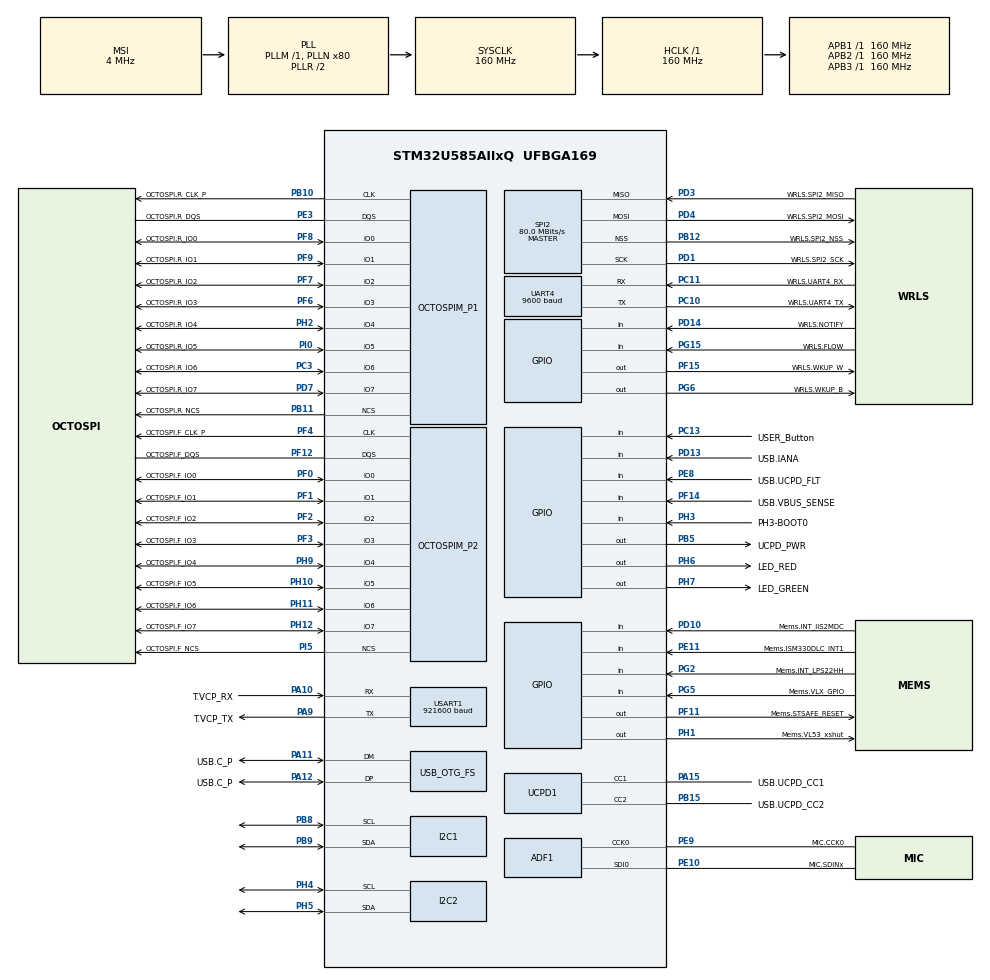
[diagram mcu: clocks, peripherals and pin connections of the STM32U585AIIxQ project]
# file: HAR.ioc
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CORTEX_M33_NS.userName=CORTEX_M33
I2C1.Timing=0x30909DEC
I2C2.Timing=0x30909DEC
Mcu.Family=STM32U5
Mcu.Name=STM32U585AIIxQ
Mcu.Package=UFBGA169
NVIC.PriorityGroup=NVIC_PRIORITYGROUP_4
NVIC.UART4_IRQn=true\:0\:0\:false\:false\:true\:true\:true\:true
NVIC.USART1_IRQn=true\:0\:0\:false\:false\:true\:true\:true\:true
OCTOSPI1.ChipSelectBoundary=10
OCTOSPI1.ClockPrescaler=2
OCTOSPI1.DelayBlockBypass=HAL_OSPI_DELAY_BLOCK_USED
OCTOSPI1.DelayHoldQuarterCycle=HAL_OSPI_DHQC_ENABLE
OCTOSPI1.DeviceSize=23
OCTOSPI1.MemoryType=HAL_OSPI_MEMTYPE_APMEMORY
OCTOSPI1.Refresh=100
OCTOSPI2.ChipSelectBoundary=0
OCTOSPI2.ChipSelectHighTime=2
OCTOSPI2.ClockPrescaler=4
OCTOSPI2.DelayBlockBypass=HAL_OSPI_DELAY_BLOCK_USED
OCTOSPI2.DelayHoldQuarterCycle=HAL_OSPI_DHQC_ENABLE
OCTOSPI2.DeviceSize=26
OCTOSPI2.FifoThreshold=4
OCTOSPI2.MemoryType=HAL_OSPI_MEMTYPE_MACRONIX
PA10.GPIO_Label=T.VCP_RX
PA10.Mode=Asynchronous
PA10.Signal=USART1_RX
PA11.GPIO_Label=USB.C_P
PA11.Mode=Device_Only
PA11.Signal=USB_OTG_FS_DM
PA12.GPIO_Label=USB.C_P
PA12.Mode=Device_Only
PA12.Signal=USB_OTG_FS_DP
PA13\ (JTMS/SWDIO).GPIO_Label=T.SWDIO
PA13\ (JTMS/SWDIO).Mode=Trace_Asynchronous_SW
PA13\ (JTMS/SWDIO).Signal=DEBUG_JTMS-SWDIO
PA14\ (JTCK/SWCLK).GPIO_Label=T.SWCLK
PA14\ (JTCK/SWCLK).Mode=Trace_Asynchronous_SW
PA14\ (JTCK/SWCLK).Signal=DEBUG_JTCK-SWCLK
PA15\ (JTDI).GPIO_Label=USB.UCPD_CC1
PA15\ (JTDI).Mode=Dual_Role_AllSignals
PA15\ (JTDI).Signal=UCPD1_CC1
PA9.GPIO_Label=T.VCP_TX
PA9.Mode=Asynchronous
PA9.Signal=USART1_TX
PB1.GPIO_Label=MIC.SDIN0
PB1.Signal=MDF1_SDI0
PB10.GPIO_Label=OCTOSPI.R_CLK_P
PB10.Mode=O1_P1_CLK
PB10.Signal=OCTOSPIM_P1_CLK
PB11.GPIO_Label=OCTOSPI.R_NCS
PB11.Mode=OCTOSPI1_Port1_NCS
PB11.Signal=OCTOSPIM_P1_NCS
PB12.GPIO_Label=WRLS.SPI2_NSS
PB12.Mode=NSS_Signal_Hard_Output
PB12.Signal=SPI2_NSS
PB15.GPIO_Label=USB.UCPD_CC2
PB15.Mode=Dual_Role_AllSignals
PB15.Signal=UCPD1_CC2
PB3\ (JTDO/TRACESWO).GPIO_Label=T.SWO
PB3\ (JTDO/TRACESWO).Mode=Trace_Asynchronous_SW
PB3\ (JTDO/TRACESWO).Signal=DEBUG_JTDO-SWO
PB5.GPIO_Label=UCPD_PWR
PB5.Signal=GPIO_Output
PB8.Mode=I2C
PB8.Signal=I2C1_SCL
PB9.Mode=I2C
PB9.Signal=I2C1_SDA
PC10.GPIO_Label=WRLS.UART4_TX
PC10.Mode=Asynchronous
PC10.Signal=UART4_TX
PC11.GPIO_Label=WRLS.UART4_RX
PC11.Mode=Asynchronous
PC11.Signal=UART4_RX
PC13.GPIO_Label=USER_Button
PC13.Signal=GPIO_Input
PC14-OSC32_IN\ (PC14).GPIO_Label=PC14-OSC32_IN
PC14-OSC32_IN\ (PC14).Mode=LSE-External-Oscillator
PC14-OSC32_IN\ (PC14).Signal=RCC_OSC32_IN
PC15-OSC32_OUT\ (PC15).GPIO_Label=PC15-OSC32_OUT
PC15-OSC32_OUT\ (PC15).Mode=LSE-External-Oscillator
PC15-OSC32_OUT\ (PC15).Signal=RCC_OSC32_OUT
PC3.GPIO_Label=OCTOSPI.R_IO6
PC3.Mode=OCTOSPI1_IOH_Port1H
PC3.Signal=OCTOSPIM_P1_IO6
PD1.GPIO_Label=WRLS.SPI2_SCK
PD1.Mode=Full_Duplex_Master
PD1.Signal=SPI2_SCK
PD10.GPIO_Label=Mems.INT_IIS2MDC
PD10.Signal=GPIO_Input
PD13.GPIO_Label=USB.IANA
PD13.Signal=GPIO_Input
PD14.GPIO_Label=WRLS.NOTIFY
PD14.Signal=GPIO_Input
PD3.GPIO_Label=WRLS.SPI2_MISO
PD3.Mode=Full_Duplex_Master
PD3.Signal=SPI2_MISO
PD4.GPIO_Label=WRLS.SPI2_MOSI
PD4.Mode=Full_Duplex_Master
PD4.Signal=SPI2_MOSI
PD7.GPIO_Label=OCTOSPI.R_IO7
PD7.Mode=OCTOSPI1_IOH_Port1H
PD7.Signal=OCTOSPIM_P1_IO7
PE10.GPIO_Label=MIC.SDINx
PE10.Mode=MOD_ADF_CCK
PE10.Signal=ADF1_SDI0
PE11.GPIO_Label=Mems.ISM330DLC_INT1
PE11.Signal=GPIO_Input
PE3.GPIO_Label=OCTOSPI.R_DQS
PE3.Mode=OCTOSPI1_Port1_DQS
PE3.Signal=OCTOSPIM_P1_DQS
PE8.GPIO_Label=USB.UCPD_FLT
PE8.Signal=GPIO_Input
PE9.GPIO_Label=MIC.CCK0
PE9.Mode=MOD_MDF_CCK0
PE9.Signal=ADF1_CCK0
PF0.GPIO_Label=OCTOSPI.F_IO0
PF0.Mode=OCTOSPI2_IOL_Port2L
PF0.Signal=OCTOSPIM_P2_IO0
PF1.GPIO_Label=OCTOSPI.F_IO1
PF1.Mode=OCTOSPI2_IOL_Port2L
PF1.Signal=OCTOSPIM_P2_IO1
PF10.GPIO_Label=MIC.CCK1
PF10.Signal=MDF1_CCK1
PF11.GPIO_Label=Mems.STSAFE_RESET
PF11.Signal=GPIO_Output
PF12.GPIO_Label=OCTOSPI.F_DQS
PF12.Mode=OCTOSPI2_Port2_DQS
PF12.Signal=OCTOSPIM_P2_DQS
PF14.GPIO_Label=USB.VBUS_SENSE
PF14.Signal=GPIO_Input
PF15.GPIO_Label=WRLS.WKUP_W
PF15.Signal=GPIO_Output
PF2.GPIO_Label=OCTOSPI.F_IO2
PF2.Mode=OCTOSPI2_IOL_Port2L
PF2.Signal=OCTOSPIM_P2_IO2
PF3.GPIO_Label=OCTOSPI.F_IO3
PF3.Mode=OCTOSPI2_IOL_Port2L
PF3.Signal=OCTOSPIM_P2_IO3
PF4.GPIO_Label=OCTOSPI.F_CLK_P
PF4.Mode=O2_P2_CLK
PF4.Signal=OCTOSPIM_P2_CLK
PF6.GPIO_Label=OCTOSPI.R_IO3
PF6.Mode=OCTOSPI1_IOL_Port1L
PF6.Signal=OCTOSPIM_P1_IO3
PF7.GPIO_Label=OCTOSPI.R_IO2
PF7.Mode=OCTOSPI1_IOL_Port1L
PF7.Signal=OCTOSPIM_P1_IO2
PF8.GPIO_Label=OCTOSPI.R_IO0
PF8.Mode=OCTOSPI1_IOL_Port1L
PF8.Signal=OCTOSPIM_P1_IO0
PF9.GPIO_Label=OCTOSPI.R_IO1
PF9.Mode=OCTOSPI1_IOL_Port1L
PF9.Signal=OCTOSPIM_P1_IO1
PG15.GPIO_Label=WRLS.FLOW
PG15.Signal=GPIO_Input
PG2.GPIO_Label=Mems.INT_LPS22HH
PG2.Signal=GPIO_Input
PG5.GPIO_Label=Mems.VLX_GPIO
PG5.Signal=GPIO_Input
PG6.GPIO_Label=WRLS.WKUP_B
PG6.Signal=GPIO_Output
PH1-OSC_OUT\ (PH1).GPIO_Label=Mems.VL53_xshut
PH1-OSC_OUT\ (PH1).Signal=GPIO_Output
PH10.GPIO_Label=OCTOSPI.F_IO5
PH10.Mode=OCTOSPI2_IOH_Port2H
PH10.Signal=OCTOSPIM_P2_IO5
PH11.GPIO_Label=OCTOSPI.F_IO6
PH11.Mode=OCTOSPI2_IOH_Port2H
PH11.Signal=OCTOSPIM_P2_IO6
PH12.GPIO_Label=OCTOSPI.F_IO7
PH12.Mode=OCTOSPI2_IOH_Port2H
PH12.Signal=OCTOSPIM_P2_IO7
PH2.GPIO_Label=OCTOSPI.R_IO4
PH2.Mode=OCTOSPI1_IOH_Port1H
PH2.Signal=OCTOSPIM_P1_IO4
PH3-BOOT0.GPIO_Label=PH3-BOOT0
PH3-BOOT0.Signal=GPIO_Input
PH4.Mode=I2C
PH4.Signal=I2C2_SCL
PH5.Mode=I2C
PH5.Signal=I2C2_SDA
PH6.GPIO_Label=LED_RED
PH6.Signal=GPIO_Output
PH7.GPIO_Label=LED_GREEN
PH7.Signal=GPIO_Output
PH9.GPIO_Label=OCTOSPI.F_IO4
PH9.Mode=OCTOSPI2_IOH_Port2H
PH9.Signal=OCTOSPIM_P2_IO4
PI0.GPIO_Label=OCTOSPI.R_IO5
PI0.Mode=OCTOSPI1_IOH_Port1H
PI0.Signal=OCTOSPIM_P1_IO5
PI5.GPIO_Label=OCTOSPI.F_NCS
PI5.Mode=OCTOSPI2_Port2_NCS
PI5.Signal=OCTOSPIM_P2_NCS
PWR.PowerMode=PWR_SMPS_SUPPLY
ProjectManager.HeapSize=0x800
ProjectManager.StackSize=0x800
ProjectManager.TargetToolchain=STM32CubeIDE
RCC.ADCFreq_Value=16000000
RCC.AHBFreq_Value=160000000
RCC.APB1Freq_Value=160000000
RCC.APB1TimFreq_Value=160000000
RCC.APB2Freq_Value=160000000
RCC.APB2TimFreq_Value=160000000
RCC.APB3Freq_Value=160000000
RCC.CortexFreq_Value=160000000
RCC.DACCLockSelectionVirtual=RCC_DAC1CLKSOURCE_LSI
RCC.EPOD_VALUE=4000000
RCC.HCLKFreq_Value=160000000
RCC.HSE_VALUE=16000000
RCC.HSI48_VALUE=48000000
RCC.HSI_VALUE=16000000
RCC.LSIDIV_VALUE=32000
RCC.MSI_VALUE=4000000
RCC.PLLN=80
RCC.SYSCLKFreq_VALUE=160000000
RCC.SYSCLKSource=RCC_SYSCLKSOURCE_PLLCLK
RCC.USBFreq_Value=48000000
RCC.VCOOutputFreq_Value=320000000
SPI2.CalculateBaudRate=80.0 MBits/s
SPI2.Direction=SPI_DIRECTION_2LINES
SPI2.Mode=SPI_MODE_MASTER
SPI2.VirtualNSS=VM_NSSHARD
SPI2.VirtualType=VM_MASTER
STMicroelectronics.X-CUBE-AI.8.1.0.ActivationBufferSizeList=5024
STMicroelectronics.X-CUBE-AI.8.1.0.ActivationBuffers=pool0
STMicroelectronics.X-CUBE-AI.8.1.0.ActivationNames=pool0
STMicroelectronics.X-CUBE-AI.8.1.0.ActivationSizes=AI_NETWORK_DATA_ACTIVATION_1_SIZE
STMicroelectronics.X-CUBE-AI.8.1.0.ApplicationCcDeviceJjApplication=ApplicationTemplate
STMicroelectronics.X-CUBE-AI.8.1.0.HeapSize=0x800
STMicroelectronics.X-CUBE-AI.8.1.0.InternalRamActivationBufferMaxSize=AI_NETWORK_DATA_ACTIVATIONS_SIZE
STMicroelectronics.X-CUBE-AI.8.1.0.LatestDirectoryUsed-bd019230dedc1074351b9f6db15181a2af16168b05c173a08e78a11e6d98613f=/Users/richardmatthews/Documents/Programming/ST-AI/HAR-Project/HAR/NN_Models/pamap2_ign_24_window_grav_rot_sup_2025_06_20_19_55_34
STMicroelectronics.X-CUBE-AI.8.1.0.MaximumNumberOfInputLayer=1
STMicroelectronics.X-CUBE-AI.8.1.0.MaximumNumberOfOutputLayer=1
STMicroelectronics.X-CUBE-AI.8.1.0.MaximumSizeOfInputLayer=1
STMicroelectronics.X-CUBE-AI.8.1.0.MaximumSizeOfOutputLayer=1
STMicroelectronics.X-CUBE-AI.8.1.0.ModelActualCompression-bd019230dedc1074351b9f6db15181a2af16168b05c173a08e78a11e6d98613f=0.0
STMicroelectronics.X-CUBE-AI.8.1.0.ModelCompression-bd019230dedc1074351b9f6db15181a2af16168b05c173a08e78a11e6d98613f=None
STMicroelectronics.X-CUBE-AI.8.1.0.ModelFlashOccupation-bd019230dedc1074351b9f6db15181a2af16168b05c173a08e78a11e6d98613f=26014
STMicroelectronics.X-CUBE-AI.8.1.0.ModelHashList=bd019230dedc1074351b9f6db15181a2af16168b05c173a08e78a11e6d98613f
STMicroelectronics.X-CUBE-AI.8.1.0.ModelKind-bd019230dedc1074351b9f6db15181a2af16168b05c173a08e78a11e6d98613f=KERAS
STMicroelectronics.X-CUBE-AI.8.1.0.ModelMacc-bd019230dedc1074351b9f6db15181a2af16168b05c173a08e78a11e6d98613f=14404
STMicroelectronics.X-CUBE-AI.8.1.0.ModelName-bd019230dedc1074351b9f6db15181a2af16168b05c173a08e78a11e6d98613f=network
STMicroelectronics.X-CUBE-AI.8.1.0.ModelNameList=network
STMicroelectronics.X-CUBE-AI.8.1.0.ModelRamOccupation-bd019230dedc1074351b9f6db15181a2af16168b05c173a08e78a11e6d98613f=5024
STMicroelectronics.X-CUBE-AI.8.1.0.ModelStructureFile-bd019230dedc1074351b9f6db15181a2af16168b05c173a08e78a11e6d98613f=NN_Models/pamap2_ign_24_window_grav_rot_sup_2025_06_20_19_55_34/pamap2_ign_24_window_grav_rot_sup.h5
STMicroelectronics.X-CUBE-AI.8.1.0.ModelType-bd019230dedc1074351b9f6db15181a2af16168b05c173a08e78a11e6d98613f=Saved model
STMicroelectronics.X-CUBE-AI.8.1.0.ReadyForCodeGeneration=true
STMicroelectronics.X-CUBE-AI.8.1.0.StackSize=0x800
STMicroelectronics.X-CUBE-AI.8.1.0.WorkingBufferStartAddrList=0xFFFFFFFF
STMicroelectronics.X-CUBE-AI.8.1.0.XAaCUBEAaAICcArtificialOoIntelligenceJjCore=true
STMicroelectronics.X-CUBE-AI.8.1.0.copyWeightToRam=false
STMicroelectronics.X-CUBE-AI.8.1.0.copyWeightToRam-bd019230dedc1074351b9f6db15181a2af16168b05c173a08e78a11e6d98613f=false
STMicroelectronics.X-CUBE-AI.8.1.0.customLayerConfigEnabled=false
STMicroelectronics.X-CUBE-AI.8.1.0.customLayerConfigEnabled-bd019230dedc1074351b9f6db15181a2af16168b05c173a08e78a11e6d98613f=false
STMicroelectronics.X-CUBE-AI.8.1.0.noOnnxIoTranspose=false
STMicroelectronics.X-CUBE-AI.8.1.0.noOnnxIoTranspose-bd019230dedc1074351b9f6db15181a2af16168b05c173a08e78a11e6d98613f=false
STMicroelectronics.X-CUBE-AI.8.1.0.useInputAllocation=true
STMicroelectronics.X-CUBE-AI.8.1.0.useInputAllocation-bd019230dedc1074351b9f6db15181a2af16168b05c173a08e78a11e6d98613f=true
STMicroelectronics.X-CUBE-AI.8.1.0.useOutputAllocation=true
STMicroelectronics.X-CUBE-AI.8.1.0.useOutputAllocation-bd019230dedc1074351b9f6db15181a2af16168b05c173a08e78a11e6d98613f=true
UART4.BaudRate=9600
USART1.BaudRate=921600
USART1.VirtualMode-Asynchronous=VM_ASYNC
USB_OTG_FS.VirtualMode=Device_Only
VP_CRC_VS_CRC.Mode=CRC_Activate
VP_ICACHE_VS_ICACHE.Mode=DirectMappedCache
VP_LPBAMQUEUE_VS_QUEUE.Mode=QUEUEMODE
VP_LPBAM_VS_SIG1.Mode=SmartRun
VP_LPBAM_VS_SIG4.Mode=LPDMA1
VP_MEMORYMAP_VS_MEMORYMAP.Mode=CurAppReg
VP_OCTOSPI1_VS_octo.Mode=octo_mode
VP_OCTOSPI2_VS_octo.Mode=octo_mode
VP_PWR_VS_DBSignals.Mode=DisableDeadBatterySignals
VP_PWR_VS_LPOM.Mode=PowerOptimisation
VP_PWR_VS_SECSignals.Mode=Security/Privilege
VP_STMicroelectronics.X-CUBE-AI_VS_ArtificialOoIntelligenceJjXAaCUBEAaAI_8.1.0.Mode=ArtificialOoIntelligenceJjXAaCUBEAaAI
VP_STMicroelectronics.X-CUBE-AI_VS_DeviceJjApplication_8.1.0.Mode=DeviceJjApplication
board=B-U585I-IOT02A

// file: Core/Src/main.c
/* USER CODE BEGIN Header */
/**
  ******************************************************************************
  * @file           : main.c
  * @brief          : Main program body
  ******************************************************************************
  * @attention
  *
  * Copyright (c) 2025 STMicroelectronics.
  * All rights reserved.
  *
  * This software is licensed under terms that can be found in the LICENSE file
  * in the root directory of this software component.
  * If no LICENSE file comes with this software, it is provided AS-IS.
  *
  ******************************************************************************
  */
/* USER CODE END Header */
#include "main.h"
#include "app_x-cube-ai.h"

/* USER CODE BEGIN Includes */
#include <stdio.h>
#include <stdbool.h>

#include "ble_at_client.h"
#include "b-u585i-iot02a-bsp/b_u585i_iot02a.h"
#include "wb-at-client/stm32wb_at.h"
#include "wb-at-client/stm32wb_at_ble.h"
#include "wb-at-client/stm32wb_at_client.h"

#include "b-u585i-iot02a-bsp/b_u585i_iot02a_motion_sensors.h"
#include "imu_manager.h"
#include "buttons.h"
#include "flash_log.h"
#include "stm32u5xx_hal.h"
#include "stm32u5xx_hal_gpio.h"
#include "config.h"
#include "cli.h"
#include "flash_error_log.h"

/* USER CODE END Includes */

MDF_HandleTypeDef AdfHandle0;
MDF_FilterConfigTypeDef AdfFilterConfig0;

CRC_HandleTypeDef hcrc;

I2C_HandleTypeDef hi2c1;
I2C_HandleTypeDef hi2c2;

OSPI_HandleTypeDef hospi1;
OSPI_HandleTypeDef hospi2;

SPI_HandleTypeDef hspi2;

UART_HandleTypeDef huart4;
UART_HandleTypeDef huart1;

PCD_HandleTypeDef hpcd_USB_OTG_FS;

void SystemClock_Config(void);
static void SystemPower_Config(void);
static void MX_GPIO_Init(void);
static void MX_ADF1_Init(void);
static void MX_I2C1_Init(void);
static void MX_I2C2_Init(void);
static void MX_ICACHE_Init(void);
static void MX_OCTOSPI1_Init(void);
static void MX_OCTOSPI2_Init(void);
static void MX_SPI2_Init(void);
static void MX_UART4_Init(void);
static void MX_USART1_UART_Init(void);
static void MX_UCPD1_Init(void);
static void MX_USB_OTG_FS_PCD_Init(void);
static void MX_CRC_Init(void);

/* USER CODE BEGIN 0 */
void ble_connect(void) {
  int ble_status = ble_at_client_setup_and_run();
  if (ble_status != 0) {
    printf("Failed to init BLE\n");
    LOG_ERROR(ERROR_BLE_INIT_ERROR,
              ERROR_DATA_BLE_STATUS, ble_status,
              ERROR_LOG_HANG_ON_LOG_FAILURE);
    while(1);
  }
}

void ble_notify(uint32_t *last_notify) {
  /* When connected we need to notify the iOS app to allow us to use the LED
   * toggle button
   * This also acts as a heartbeat indicator on the app
   */
  if (ble_at_client_device_connected() && HAL_GetTick() - (*last_notify) > 1000) {
    int8_t status = ble_at_client_notify();
    if (status != 0) {
      printf("Failed to notify ble\n");
      LOG_ERROR(ERROR_BLE_NOTIFY_ERROR,
                ERROR_DATA_BLE_STATUS, status,
                ERROR_LOG_CONTINUE_ON_LOG_FAILURE);
    }

    *last_notify = HAL_GetTick();
  }

}

/* USER CODE END 0 */

int main(void)
{

  /* MCU Configuration--------------------------------------------------------*/

  /* Reset of all peripherals, Initializes the Flash interface and the Systick. */
  HAL_Init();

  /* Configure the System Power */
  SystemPower_Config();

  /* Configure the system clock */
  SystemClock_Config();

  /* USER CODE BEGIN SysInit */
  setvbuf(stdout, NULL, _IONBF, 0);
  /* USER CODE END SysInit */

  /* Initialize all configured peripherals */
  MX_GPIO_Init();
  MX_ADF1_Init();
  MX_I2C1_Init();
  MX_I2C2_Init();
  MX_ICACHE_Init();
  MX_OCTOSPI1_Init();
  MX_OCTOSPI2_Init();
  MX_SPI2_Init();
  MX_UART4_Init();
  MX_USART1_UART_Init();
  MX_UCPD1_Init();
  MX_USB_OTG_FS_PCD_Init();
  MX_CRC_Init();
  MX_X_CUBE_AI_Init();
  /* USER CODE BEGIN 2 */

  printf("Initializing\n\n");

  config_init();

  bool error_log_full = false;

  error_log_status_t error_log_status = error_log_init();
  if (error_log_status == ERROR_LOG_FULL) {
    printf("Error log is full\n");
    error_log_full = true;
  } else if (error_log_status != ERROR_LOG_OK) {
    printf("Failed to init error log\n");
    while(1);
  }

  int32_t status = imu_manager_init();
  if (status != BSP_ERROR_NONE) {
    printf("Failed to init IMU\n");
    LOG_ERROR(ERROR_IMU_INIT_ERROR,
              ERROR_DATA_BSP_ERROR_CODE, status,
              ERROR_LOG_HANG_ON_LOG_FAILURE);
    while(1);
  }

  flash_log_status_t flash_status =
    flash_log_init();
  if (flash_status != FLASH_LOG_OK) {
    printf("Failed to init flash log\n");
    LOG_ERROR(ERROR_FLASH_LOG_INIT_ERROR,
              ERROR_DATA_FLASH_LOG_STATUS, flash_status,
              ERROR_LOG_HANG_ON_LOG_FAILURE);
    while(1);
  }

  cli_status_t cli_status = cli_init();
  if (cli_status != CLI_STATUS_OK) {
    printf("Failed to init CLI\n");
    LOG_ERROR(ERROR_CLI_INIT_ERROR,
              ERROR_DATA_CLI_STATUS, cli_status,
              ERROR_LOG_HANG_ON_LOG_FAILURE);
    while(1);
  }

  cli_setup_waiting_for_input();

  /* USER CODE END 2 */

  /* Infinite loop */
  /* USER CODE BEGIN WHILE */
  if (!error_log_full) {
    ble_connect();
  }

  uint32_t last_notify = 0;

#if LOAD_IMU_DATA_FROM_FILE
  bool end_of_recorded_data = false;
#endif

  while (1)
  {
    if (!error_log_full) {
      ble_notify(&last_notify);

      bool ble_disconnect = ble_at_client_check_disconnect();
      if (ble_disconnect) {
        printf("BLE disconnected\n");
        LOG_ERROR(ERROR_BLE_DISCONNECT_ERROR,
                  ERROR_DATA_NONE,
                  0,
                  ERROR_LOG_CONTINUE_ON_LOG_FAILURE);

        ble_at_client_clear_disconnect();
      }
    }

    // Check to see if we should start the CLI
    // CLI is enabled if we receive any input
    // if enabled, application code stops
    if (!config_get_cli_enabled()) {
      if (cli_check_for_input_to_enable()) {
        cli_status = cli_start();
        if (cli_status != CLI_STATUS_OK) {
          printf("Failed to start CLI\n");
          LOG_ERROR(ERROR_CLI_START_ERROR,
                    ERROR_DATA_CLI_STATUS, cli_status,
                    ERROR_LOG_CONTINUE_ON_LOG_FAILURE);

          continue;
        }

        config_set_cli_enabled(true);
      }
    } else {
      cli_status = cli_run();
      if (cli_status != CLI_STATUS_OK) {
        printf("Failed to run CLI\n");
        LOG_ERROR(ERROR_CLI_RUN_ERROR,
                  ERROR_DATA_CLI_STATUS, cli_status,
                  ERROR_LOG_CONTINUE_ON_LOG_FAILURE);
      }
    }

    if (!error_log_full) {
    /* USER CODE END WHILE */
    /* USER CODE BEGIN 3 */
#if LOAD_IMU_DATA_FROM_FILE
      if (!end_of_recorded_data) {
        ai_status_t status = MX_X_CUBE_AI_Process();
        if (status == AI_STATUS_END_OF_RECORDED_DATA) {
          end_of_recorded_data = true;
        }
      }
#else
      MX_X_CUBE_AI_Process();
#endif
    }
  }
  /* USER CODE END 3 */
}

void SystemClock_Config(void)
{
  RCC_OscInitTypeDef RCC_OscInitStruct = {0};
  RCC_ClkInitTypeDef RCC_ClkInitStruct = {0};

  /** Configure the main internal regulator output voltage
  */
  if (HAL_PWREx_ControlVoltageScaling(PWR_REGULATOR_VOLTAGE_SCALE1) != HAL_OK)
  {
    Error_Handler();
  }

  /** Initializes the CPU, AHB and APB buses clocks
  */
  RCC_OscInitStruct.OscillatorType = RCC_OSCILLATORTYPE_HSI48|RCC_OSCILLATORTYPE_HSI
                              |RCC_OSCILLATORTYPE_MSI;
  RCC_OscInitStruct.HSIState = RCC_HSI_ON;
  RCC_OscInitStruct.HSI48State = RCC_HSI48_ON;
  RCC_OscInitStruct.HSICalibrationValue = RCC_HSICALIBRATION_DEFAULT;
  RCC_OscInitStruct.MSIState = RCC_MSI_ON;
  RCC_OscInitStruct.MSICalibrationValue = RCC_MSICALIBRATION_DEFAULT;
  RCC_OscInitStruct.MSIClockRange = RCC_MSIRANGE_4;
  RCC_OscInitStruct.PLL.PLLState = RCC_PLL_ON;
  RCC_OscInitStruct.PLL.PLLSource = RCC_PLLSOURCE_MSI;
  RCC_OscInitStruct.PLL.PLLMBOOST = RCC_PLLMBOOST_DIV1;
  RCC_OscInitStruct.PLL.PLLM = 1;
  RCC_OscInitStruct.PLL.PLLN = 80;
  RCC_OscInitStruct.PLL.PLLP = 2;
  RCC_OscInitStruct.PLL.PLLQ = 2;
  RCC_OscInitStruct.PLL.PLLR = 2;
  RCC_OscInitStruct.PLL.PLLRGE = RCC_PLLVCIRANGE_0;
  RCC_OscInitStruct.PLL.PLLFRACN = 0;
  if (HAL_RCC_OscConfig(&RCC_OscInitStruct) != HAL_OK)
  {
    Error_Handler();
  }

  /** Initializes the CPU, AHB and APB buses clocks
  */
  RCC_ClkInitStruct.ClockType = RCC_CLOCKTYPE_HCLK|RCC_CLOCKTYPE_SYSCLK
                              |RCC_CLOCKTYPE_PCLK1|RCC_CLOCKTYPE_PCLK2
                              |RCC_CLOCKTYPE_PCLK3;
  RCC_ClkInitStruct.SYSCLKSource = RCC_SYSCLKSOURCE_PLLCLK;
  RCC_ClkInitStruct.AHBCLKDivider = RCC_SYSCLK_DIV1;
  RCC_ClkInitStruct.APB1CLKDivider = RCC_HCLK_DIV1;
  RCC_ClkInitStruct.APB2CLKDivider = RCC_HCLK_DIV1;
  RCC_ClkInitStruct.APB3CLKDivider = RCC_HCLK_DIV1;

  if (HAL_RCC_ClockConfig(&RCC_ClkInitStruct, FLASH_LATENCY_4) != HAL_OK)
  {
    Error_Handler();
  }
}

/**
  * @brief Power Configuration
  * @retval None
  */
static void SystemPower_Config(void)
{
  HAL_PWREx_EnableVddIO2();

  /*
   * Switch to SMPS regulator instead of LDO
   */
  if (HAL_PWREx_ConfigSupply(PWR_SMPS_SUPPLY) != HAL_OK)
  {
    Error_Handler();
  }
}

static void MX_ADF1_Init(void)
{

  /**
    AdfHandle0 structure initialization and HAL_MDF_Init function call
  */
  AdfHandle0.Instance = ADF1_Filter0;
  AdfHandle0.Init.CommonParam.ProcClockDivider = 1;
  AdfHandle0.Init.CommonParam.OutputClock.Activation = DISABLE;
  AdfHandle0.Init.SerialInterface.Activation = ENABLE;
  AdfHandle0.Init.SerialInterface.Mode = MDF_SITF_LF_MASTER_SPI_MODE;
  AdfHandle0.Init.SerialInterface.ClockSource = MDF_SITF_CCK0_SOURCE;
  AdfHandle0.Init.SerialInterface.Threshold = 4;
  AdfHandle0.Init.FilterBistream = MDF_BITSTREAM0_FALLING;
  if (HAL_MDF_Init(&AdfHandle0) != HAL_OK)
  {
    Error_Handler();
  }

  /**
    AdfFilterConfig0 structure initialization

    WARNING : only structure is filled, no specific init function call for filter
  */
  AdfFilterConfig0.DataSource = MDF_DATA_SOURCE_BSMX;
  AdfFilterConfig0.Delay = 0;
  AdfFilterConfig0.CicMode = MDF_ONE_FILTER_SINC4;
  AdfFilterConfig0.DecimationRatio = 2;
  AdfFilterConfig0.Gain = 0;
  AdfFilterConfig0.ReshapeFilter.Activation = DISABLE;
  AdfFilterConfig0.HighPassFilter.Activation = DISABLE;
  AdfFilterConfig0.SoundActivity.Activation = DISABLE;
  AdfFilterConfig0.AcquisitionMode = MDF_MODE_ASYNC_CONT;
  AdfFilterConfig0.FifoThreshold = MDF_FIFO_THRESHOLD_NOT_EMPTY;
  AdfFilterConfig0.DiscardSamples = 0;

}

static void MX_CRC_Init(void)
{

  hcrc.Instance = CRC;
  hcrc.Init.DefaultPolynomialUse = DEFAULT_POLYNOMIAL_ENABLE;
  hcrc.Init.DefaultInitValueUse = DEFAULT_INIT_VALUE_ENABLE;
  hcrc.Init.InputDataInversionMode = CRC_INPUTDATA_INVERSION_NONE;
  hcrc.Init.OutputDataInversionMode = CRC_OUTPUTDATA_INVERSION_DISABLE;
  hcrc.InputDataFormat = CRC_INPUTDATA_FORMAT_BYTES;
  if (HAL_CRC_Init(&hcrc) != HAL_OK)
  {
    Error_Handler();
  }

}

static void MX_I2C1_Init(void)
{

  hi2c1.Instance = I2C1;
  hi2c1.Init.Timing = 0x30909DEC;
  hi2c1.Init.OwnAddress1 = 0;
  hi2c1.Init.AddressingMode = I2C_ADDRESSINGMODE_7BIT;
  hi2c1.Init.DualAddressMode = I2C_DUALADDRESS_DISABLE;
  hi2c1.Init.OwnAddress2 = 0;
  hi2c1.Init.OwnAddress2Masks = I2C_OA2_NOMASK;
  hi2c1.Init.GeneralCallMode = I2C_GENERALCALL_DISABLE;
  hi2c1.Init.NoStretchMode = I2C_NOSTRETCH_DISABLE;
  if (HAL_I2C_Init(&hi2c1) != HAL_OK)
  {
    Error_Handler();
  }

  /** Configure Analogue filter
  */
  if (HAL_I2CEx_ConfigAnalogFilter(&hi2c1, I2C_ANALOGFILTER_ENABLE) != HAL_OK)
  {
    Error_Handler();
  }

  /** Configure Digital filter
  */
  if (HAL_I2CEx_ConfigDigitalFilter(&hi2c1, 0) != HAL_OK)
  {
    Error_Handler();
  }

}

static void MX_I2C2_Init(void)
{

  hi2c2.Instance = I2C2;
  hi2c2.Init.Timing = 0x30909DEC;
  hi2c2.Init.OwnAddress1 = 0;
  hi2c2.Init.AddressingMode = I2C_ADDRESSINGMODE_7BIT;
  hi2c2.Init.DualAddressMode = I2C_DUALADDRESS_DISABLE;
  hi2c2.Init.OwnAddress2 = 0;
  hi2c2.Init.OwnAddress2Masks = I2C_OA2_NOMASK;
  hi2c2.Init.GeneralCallMode = I2C_GENERALCALL_DISABLE;
  hi2c2.Init.NoStretchMode = I2C_NOSTRETCH_DISABLE;
  if (HAL_I2C_Init(&hi2c2) != HAL_OK)
  {
    Error_Handler();
  }

  /** Configure Analogue filter
  */
  if (HAL_I2CEx_ConfigAnalogFilter(&hi2c2, I2C_ANALOGFILTER_ENABLE) != HAL_OK)
  {
    Error_Handler();
  }

  /** Configure Digital filter
  */
  if (HAL_I2CEx_ConfigDigitalFilter(&hi2c2, 0) != HAL_OK)
  {
    Error_Handler();
  }

}

static void MX_ICACHE_Init(void)
{

  /** Enable instruction cache in 1-way (direct mapped cache)
  */
  if (HAL_ICACHE_ConfigAssociativityMode(ICACHE_1WAY) != HAL_OK)
  {
    Error_Handler();
  }
  if (HAL_ICACHE_Enable() != HAL_OK)
  {
    Error_Handler();
  }

}

static void MX_OCTOSPI1_Init(void)
{

  OSPIM_CfgTypeDef sOspiManagerCfg = {0};
  HAL_OSPI_DLYB_CfgTypeDef HAL_OSPI_DLYB_Cfg_Struct = {0};

  /* OCTOSPI1 parameter configuration*/
  hospi1.Instance = OCTOSPI1;
  hospi1.Init.FifoThreshold = 1;
  hospi1.Init.DualQuad = HAL_OSPI_DUALQUAD_DISABLE;
  hospi1.Init.MemoryType = HAL_OSPI_MEMTYPE_APMEMORY;
  hospi1.Init.DeviceSize = 23;
  hospi1.Init.ChipSelectHighTime = 1;
  hospi1.Init.FreeRunningClock = HAL_OSPI_FREERUNCLK_DISABLE;
  hospi1.Init.ClockMode = HAL_OSPI_CLOCK_MODE_0;
  hospi1.Init.WrapSize = HAL_OSPI_WRAP_NOT_SUPPORTED;
  hospi1.Init.ClockPrescaler = 2;
  hospi1.Init.SampleShifting = HAL_OSPI_SAMPLE_SHIFTING_NONE;
  hospi1.Init.DelayHoldQuarterCycle = HAL_OSPI_DHQC_ENABLE;
  hospi1.Init.ChipSelectBoundary = 10;
  hospi1.Init.DelayBlockBypass = HAL_OSPI_DELAY_BLOCK_USED;
  hospi1.Init.MaxTran = 0;
  hospi1.Init.Refresh = 100;
  if (HAL_OSPI_Init(&hospi1) != HAL_OK)
  {
    Error_Handler();
  }
  sOspiManagerCfg.ClkPort = 1;
  sOspiManagerCfg.DQSPort = 1;
  sOspiManagerCfg.NCSPort = 1;
  sOspiManagerCfg.IOLowPort = HAL_OSPIM_IOPORT_1_LOW;
  sOspiManagerCfg.IOHighPort = HAL_OSPIM_IOPORT_1_HIGH;
  if (HAL_OSPIM_Config(&hospi1, &sOspiManagerCfg, HAL_OSPI_TIMEOUT_DEFAULT_VALUE) != HAL_OK)
  {
    Error_Handler();
  }
  HAL_OSPI_DLYB_Cfg_Struct.Units = 0;
  HAL_OSPI_DLYB_Cfg_Struct.PhaseSel = 0;
  if (HAL_OSPI_DLYB_SetConfig(&hospi1, &HAL_OSPI_DLYB_Cfg_Struct) != HAL_OK)
  {
    Error_Handler();
  }

}

static void MX_OCTOSPI2_Init(void)
{

  OSPIM_CfgTypeDef sOspiManagerCfg = {0};
  HAL_OSPI_DLYB_CfgTypeDef HAL_OSPI_DLYB_Cfg_Struct = {0};

  /* OCTOSPI2 parameter configuration*/
  hospi2.Instance = OCTOSPI2;
  hospi2.Init.FifoThreshold = 4;
  hospi2.Init.DualQuad = HAL_OSPI_DUALQUAD_DISABLE;
  hospi2.Init.MemoryType = HAL_OSPI_MEMTYPE_MACRONIX;
  hospi2.Init.DeviceSize = 26;
  hospi2.Init.ChipSelectHighTime = 2;
  hospi2.Init.FreeRunningClock = HAL_OSPI_FREERUNCLK_DISABLE;
  hospi2.Init.ClockMode = HAL_OSPI_CLOCK_MODE_0;
  hospi2.Init.WrapSize = HAL_OSPI_WRAP_NOT_SUPPORTED;
  hospi2.Init.ClockPrescaler = 4;
  hospi2.Init.SampleShifting = HAL_OSPI_SAMPLE_SHIFTING_NONE;
  hospi2.Init.DelayHoldQuarterCycle = HAL_OSPI_DHQC_ENABLE;
  hospi2.Init.ChipSelectBoundary = 0;
  hospi2.Init.DelayBlockBypass = HAL_OSPI_DELAY_BLOCK_USED;
  hospi2.Init.MaxTran = 0;
  hospi2.Init.Refresh = 0;
  if (HAL_OSPI_Init(&hospi2) != HAL_OK)
  {
    Error_Handler();
  }
  sOspiManagerCfg.ClkPort = 2;
  sOspiManagerCfg.DQSPort = 2;
  sOspiManagerCfg.NCSPort = 2;
  sOspiManagerCfg.IOLowPort = HAL_OSPIM_IOPORT_2_LOW;
  sOspiManagerCfg.IOHighPort = HAL_OSPIM_IOPORT_2_HIGH;
  if (HAL_OSPIM_Config(&hospi2, &sOspiManagerCfg, HAL_OSPI_TIMEOUT_DEFAULT_VALUE) != HAL_OK)
  {
    Error_Handler();
  }
  HAL_OSPI_DLYB_Cfg_Struct.Units = 0;
  HAL_OSPI_DLYB_Cfg_Struct.PhaseSel = 0;
  if (HAL_OSPI_DLYB_SetConfig(&hospi2, &HAL_OSPI_DLYB_Cfg_Struct) != HAL_OK)
  {
    Error_Handler();
  }

}

static void MX_SPI2_Init(void)
{

  SPI_AutonomousModeConfTypeDef HAL_SPI_AutonomousMode_Cfg_Struct = {0};

  /* SPI2 parameter configuration*/
  hspi2.Instance = SPI2;
  hspi2.Init.Mode = SPI_MODE_MASTER;
  hspi2.Init.Direction = SPI_DIRECTION_2LINES;
  hspi2.Init.DataSize = SPI_DATASIZE_4BIT;
  hspi2.Init.CLKPolarity = SPI_POLARITY_LOW;
  hspi2.Init.CLKPhase = SPI_PHASE_1EDGE;
  hspi2.Init.NSS = SPI_NSS_HARD_OUTPUT;
  hspi2.Init.BaudRatePrescaler = SPI_BAUDRATEPRESCALER_2;
  hspi2.Init.FirstBit = SPI_FIRSTBIT_MSB;
  hspi2.Init.TIMode = SPI_TIMODE_DISABLE;
  hspi2.Init.CRCCalculation = SPI_CRCCALCULATION_DISABLE;
  hspi2.Init.CRCPolynomial = 0x7;
  hspi2.Init.NSSPMode = SPI_NSS_PULSE_ENABLE;
  hspi2.Init.NSSPolarity = SPI_NSS_POLARITY_LOW;
  hspi2.Init.FifoThreshold = SPI_FIFO_THRESHOLD_01DATA;
  hspi2.Init.MasterSSIdleness = SPI_MASTER_SS_IDLENESS_00CYCLE;
  hspi2.Init.MasterInterDataIdleness = SPI_MASTER_INTERDATA_IDLENESS_00CYCLE;
  hspi2.Init.MasterReceiverAutoSusp = SPI_MASTER_RX_AUTOSUSP_DISABLE;
  hspi2.Init.MasterKeepIOState = SPI_MASTER_KEEP_IO_STATE_DISABLE;
  hspi2.Init.IOSwap = SPI_IO_SWAP_DISABLE;
  hspi2.Init.ReadyMasterManagement = SPI_RDY_MASTER_MANAGEMENT_INTERNALLY;
  hspi2.Init.ReadyPolarity = SPI_RDY_POLARITY_HIGH;
  if (HAL_SPI_Init(&hspi2) != HAL_OK)
  {
    Error_Handler();
  }
  HAL_SPI_AutonomousMode_Cfg_Struct.TriggerState = SPI_AUTO_MODE_DISABLE;
  HAL_SPI_AutonomousMode_Cfg_Struct.TriggerSelection = SPI_GRP1_GPDMA_CH0_TCF_TRG;
  HAL_SPI_AutonomousMode_Cfg_Struct.TriggerPolarity = SPI_TRIG_POLARITY_RISING;
  if (HAL_SPIEx_SetConfigAutonomousMode(&hspi2, &HAL_SPI_AutonomousMode_Cfg_Struct) != HAL_OK)
  {
    Error_Handler();
  }

}

static void MX_UART4_Init(void)
{

  huart4.Instance = UART4;
  huart4.Init.BaudRate = 9600;
  huart4.Init.WordLength = UART_WORDLENGTH_8B;
  huart4.Init.StopBits = UART_STOPBITS_1;
  huart4.Init.Parity = UART_PARITY_NONE;
  huart4.Init.Mode = UART_MODE_TX_RX;
  huart4.Init.HwFlowCtl = UART_HWCONTROL_NONE;
  huart4.Init.OverSampling = UART_OVERSAMPLING_16;
  huart4.Init.OneBitSampling = UART_ONE_BIT_SAMPLE_DISABLE;
  huart4.Init.ClockPrescaler = UART_PRESCALER_DIV1;
  huart4.AdvancedInit.AdvFeatureInit = UART_ADVFEATURE_NO_INIT;
  if (HAL_UART_Init(&huart4) != HAL_OK)
  {
    Error_Handler();
  }
  if (HAL_UARTEx_SetTxFifoThreshold(&huart4, UART_TXFIFO_THRESHOLD_1_8) != HAL_OK)
  {
    Error_Handler();
  }
  if (HAL_UARTEx_SetRxFifoThreshold(&huart4, UART_RXFIFO_THRESHOLD_1_8) != HAL_OK)
  {
    Error_Handler();
  }
  if (HAL_UARTEx_DisableFifoMode(&huart4) != HAL_OK)
  {
    Error_Handler();
  }

}

static void MX_USART1_UART_Init(void)
{

  huart1.Instance = USART1;
  huart1.Init.BaudRate = 921600;
  huart1.Init.WordLength = UART_WORDLENGTH_8B;
  huart1.Init.StopBits = UART_STOPBITS_1;
  huart1.Init.Parity = UART_PARITY_NONE;
  huart1.Init.Mode = UART_MODE_TX_RX;
  huart1.Init.HwFlowCtl = UART_HWCONTROL_NONE;
  huart1.Init.OverSampling = UART_OVERSAMPLING_16;
  huart1.Init.OneBitSampling = UART_ONE_BIT_SAMPLE_DISABLE;
  huart1.Init.ClockPrescaler = UART_PRESCALER_DIV1;
  huart1.AdvancedInit.AdvFeatureInit = UART_ADVFEATURE_NO_INIT;
  if (HAL_UART_Init(&huart1) != HAL_OK)
  {
    Error_Handler();
  }
  if (HAL_UARTEx_SetTxFifoThreshold(&huart1, UART_TXFIFO_THRESHOLD_1_8) != HAL_OK)
  {
    Error_Handler();
  }
  if (HAL_UARTEx_SetRxFifoThreshold(&huart1, UART_RXFIFO_THRESHOLD_1_8) != HAL_OK)
  {
    Error_Handler();
  }
  if (HAL_UARTEx_DisableFifoMode(&huart1) != HAL_OK)
  {
    Error_Handler();
  }

}

static void MX_UCPD1_Init(void)
{

  LL_GPIO_InitTypeDef GPIO_InitStruct = {0};

  /* Peripheral clock enable */
  LL_APB1_GRP2_EnableClock(LL_APB1_GRP2_PERIPH_UCPD1);

  LL_AHB2_GRP1_EnableClock(LL_AHB2_GRP1_PERIPH_GPIOA);
  LL_AHB2_GRP1_EnableClock(LL_AHB2_GRP1_PERIPH_GPIOB);
  /**UCPD1 GPIO Configuration
  PA15 (JTDI)   ------> UCPD1_CC1
  PB15   ------> UCPD1_CC2
  */
  GPIO_InitStruct.Pin = LL_GPIO_PIN_15;
  GPIO_InitStruct.Mode = LL_GPIO_MODE_ANALOG;
  GPIO_InitStruct.Pull = LL_GPIO_PULL_NO;
  LL_GPIO_Init(GPIOA, &GPIO_InitStruct);

  GPIO_InitStruct.Pin = LL_GPIO_PIN_15;
  GPIO_InitStruct.Mode = LL_GPIO_MODE_ANALOG;
  GPIO_InitStruct.Pull = LL_GPIO_PULL_NO;
  LL_GPIO_Init(GPIOB, &GPIO_InitStruct);

}

static void MX_USB_OTG_FS_PCD_Init(void)
{

  hpcd_USB_OTG_FS.Instance = USB_OTG_FS;
  hpcd_USB_OTG_FS.Init.dev_endpoints = 6;
  hpcd_USB_OTG_FS.Init.speed = PCD_SPEED_FULL;
  hpcd_USB_OTG_FS.Init.phy_itface = PCD_PHY_EMBEDDED;
  hpcd_USB_OTG_FS.Init.Sof_enable = DISABLE;
  hpcd_USB_OTG_FS.Init.low_power_enable = DISABLE;
  hpcd_USB_OTG_FS.Init.lpm_enable = DISABLE;
  hpcd_USB_OTG_FS.Init.battery_charging_enable = DISABLE;
  hpcd_USB_OTG_FS.Init.use_dedicated_ep1 = DISABLE;
  hpcd_USB_OTG_FS.Init.vbus_sensing_enable = DISABLE;
  hpcd_USB_OTG_FS.Init.dma_enable = DISABLE;
  if (HAL_PCD_Init(&hpcd_USB_OTG_FS) != HAL_OK)
  {
    Error_Handler();
  }

}

static void MX_GPIO_Init(void)
{
  GPIO_InitTypeDef GPIO_InitStruct = {0};

  /* GPIO Ports Clock Enable */
  __HAL_RCC_GPIOG_CLK_ENABLE();
  __HAL_RCC_GPIOC_CLK_ENABLE();
  __HAL_RCC_GPIOA_CLK_ENABLE();
  __HAL_RCC_GPIOI_CLK_ENABLE();
  __HAL_RCC_GPIOH_CLK_ENABLE();
  __HAL_RCC_GPIOB_CLK_ENABLE();
  __HAL_RCC_GPIOD_CLK_ENABLE();
  __HAL_RCC_GPIOE_CLK_ENABLE();
  __HAL_RCC_GPIOF_CLK_ENABLE();

  /*Configure GPIO pin Output Level */
  HAL_GPIO_WritePin(UCPD_PWR_GPIO_Port, UCPD_PWR_Pin, GPIO_PIN_RESET);

  /*Configure GPIO pin Output Level */
  HAL_GPIO_WritePin(GPIOH, LED_RED_Pin|LED_GREEN_Pin|Mems_VL53_xshut_Pin, GPIO_PIN_RESET);

  /*Configure GPIO pin Output Level */
  HAL_GPIO_WritePin(WRLS_WKUP_B_GPIO_Port, WRLS_WKUP_B_Pin, GPIO_PIN_RESET);

  /*Configure GPIO pin Output Level */
  HAL_GPIO_WritePin(GPIOF, Mems_STSAFE_RESET_Pin|WRLS_WKUP_W_Pin, GPIO_PIN_RESET);

  /*Configure GPIO pins : WRLS_FLOW_Pin Mems_VLX_GPIO_Pin Mems_INT_LPS22HH_Pin */
  GPIO_InitStruct.Pin = WRLS_FLOW_Pin|Mems_VLX_GPIO_Pin|Mems_INT_LPS22HH_Pin;
  GPIO_InitStruct.Mode = GPIO_MODE_INPUT;
  GPIO_InitStruct.Pull = GPIO_NOPULL;
  HAL_GPIO_Init(GPIOG, &GPIO_InitStruct);

  /*Configure GPIO pin : PH3_BOOT0_Pin */
  GPIO_InitStruct.Pin = PH3_BOOT0_Pin;
  GPIO_InitStruct.Mode = GPIO_MODE_INPUT;
  GPIO_InitStruct.Pull = GPIO_NOPULL;
  HAL_GPIO_Init(PH3_BOOT0_GPIO_Port, &GPIO_InitStruct);

  /*Configure GPIO pin : UCPD_PWR_Pin */
  GPIO_InitStruct.Pin = UCPD_PWR_Pin;
  GPIO_InitStruct.Mode = GPIO_MODE_OUTPUT_PP;
  GPIO_InitStruct.Pull = GPIO_NOPULL;
  GPIO_InitStruct.Speed = GPIO_SPEED_FREQ_LOW;
  HAL_GPIO_Init(UCPD_PWR_GPIO_Port, &GPIO_InitStruct);

  /*Configure GPIO pin : USER_Button_Pin */
  GPIO_InitStruct.Pin = USER_Button_Pin;
  GPIO_InitStruct.Mode = GPIO_MODE_INPUT;
  GPIO_InitStruct.Pull = GPIO_NOPULL;
  HAL_GPIO_Init(USER_Button_GPIO_Port, &GPIO_InitStruct);

  /*Configure GPIO pins : LED_RED_Pin LED_GREEN_Pin Mems_VL53_xshut_Pin */
  GPIO_InitStruct.Pin = LED_RED_Pin|LED_GREEN_Pin|Mems_VL53_xshut_Pin;
  GPIO_InitStruct.Mode = GPIO_MODE_OUTPUT_PP;
  GPIO_InitStruct.Pull = GPIO_NOPULL;
  GPIO_InitStruct.Speed = GPIO_SPEED_FREQ_LOW;
  HAL_GPIO_Init(GPIOH, &GPIO_InitStruct);

  /*Configure GPIO pin : MIC_CCK1_Pin */
  GPIO_InitStruct.Pin = MIC_CCK1_Pin;
  GPIO_InitStruct.Mode = GPIO_MODE_AF_PP;
  GPIO_InitStruct.Pull = GPIO_NOPULL;
  GPIO_InitStruct.Speed = GPIO_SPEED_FREQ_LOW;
  GPIO_InitStruct.Alternate = GPIO_AF6_MDF1;
  HAL_GPIO_Init(MIC_CCK1_GPIO_Port, &GPIO_InitStruct);

  /*Configure GPIO pin : WRLS_WKUP_B_Pin */
  GPIO_InitStruct.Pin = WRLS_WKUP_B_Pin;
  GPIO_InitStruct.Mode = GPIO_MODE_OUTPUT_PP;
  GPIO_InitStruct.Pull = GPIO_NOPULL;
  GPIO_InitStruct.Speed = GPIO_SPEED_FREQ_LOW;
  HAL_GPIO_Init(WRLS_WKUP_B_GPIO_Port, &GPIO_InitStruct);

  /*Configure GPIO pins : WRLS_NOTIFY_Pin Mems_INT_IIS2MDC_Pin USB_IANA_Pin */
  GPIO_InitStruct.Pin = WRLS_NOTIFY_Pin|Mems_INT_IIS2MDC_Pin|USB_IANA_Pin;
  GPIO_InitStruct.Mode = GPIO_MODE_INPUT;
  GPIO_InitStruct.Pull = GPIO_NOPULL;
  HAL_GPIO_Init(GPIOD, &GPIO_InitStruct);

  /*Configure GPIO pins : USB_UCPD_FLT_Pin Mems_ISM330DLC_INT1_Pin */
  GPIO_InitStruct.Pin = USB_UCPD_FLT_Pin|Mems_ISM330DLC_INT1_Pin;
  GPIO_InitStruct.Mode = GPIO_MODE_INPUT;
  GPIO_InitStruct.Pull = GPIO_NOPULL;
  HAL_GPIO_Init(GPIOE, &GPIO_InitStruct);

  /*Configure GPIO pin : USB_VBUS_SENSE_Pin */
  GPIO_InitStruct.Pin = USB_VBUS_SENSE_Pin;
  GPIO_InitStruct.Mode = GPIO_MODE_INPUT;
  GPIO_InitStruct.Pull = GPIO_NOPULL;
  HAL_GPIO_Init(USB_VBUS_SENSE_GPIO_Port, &GPIO_InitStruct);

  /*Configure GPIO pins : Mems_STSAFE_RESET_Pin WRLS_WKUP_W_Pin */
  GPIO_InitStruct.Pin = Mems_STSAFE_RESET_Pin|WRLS_WKUP_W_Pin;
  GPIO_InitStruct.Mode = GPIO_MODE_OUTPUT_PP;
  GPIO_InitStruct.Pull = GPIO_NOPULL;
  GPIO_InitStruct.Speed = GPIO_SPEED_FREQ_LOW;
  HAL_GPIO_Init(GPIOF, &GPIO_InitStruct);

  /*Configure GPIO pin : MIC_SDIN0_Pin */
  GPIO_InitStruct.Pin = MIC_SDIN0_Pin;
  GPIO_InitStruct.Mode = GPIO_MODE_AF_PP;
  GPIO_InitStruct.Pull = GPIO_NOPULL;
  GPIO_InitStruct.Speed = GPIO_SPEED_FREQ_LOW;
  GPIO_InitStruct.Alternate = GPIO_AF6_MDF1;
  HAL_GPIO_Init(MIC_SDIN0_GPIO_Port, &GPIO_InitStruct);

}

void Error_Handler(void)
{
  __disable_irq();
  while (1)
  {
  }
}
